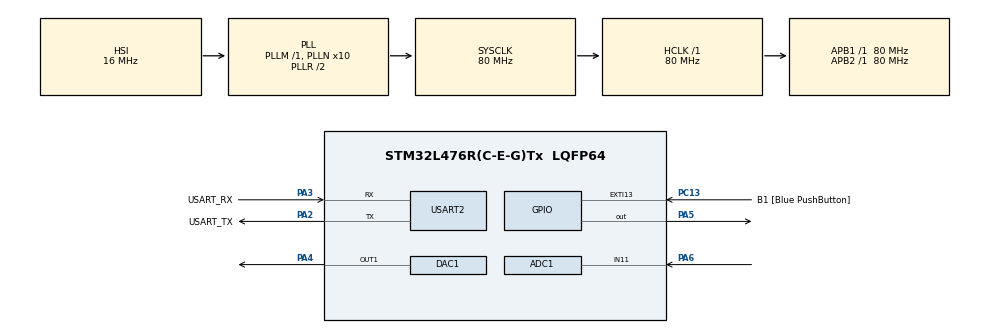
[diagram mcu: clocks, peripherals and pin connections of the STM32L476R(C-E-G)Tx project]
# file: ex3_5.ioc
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ADC1.Channel-1\#ChannelRegularConversion=ADC_CHANNEL_11
ADC1.NbrOfConversionFlag=1
ADC1.OffsetNumber-1\#ChannelRegularConversion=ADC_OFFSET_NONE
ADC1.Rank-1\#ChannelRegularConversion=1
ADC1.SamplingTime-1\#ChannelRegularConversion=ADC_SAMPLETIME_92CYCLES_5
ADC1.master=1
Mcu.Family=STM32L4
Mcu.Name=STM32L476R(C-E-G)Tx
Mcu.Package=LQFP64
NVIC.PriorityGroup=NVIC_PRIORITYGROUP_4
PA13\ (JTMS-SWDIO).GPIO_Label=TMS
PA13\ (JTMS-SWDIO).Mode=Serial_Wire
PA13\ (JTMS-SWDIO).Signal=SYS_JTMS-SWDIO
PA14\ (JTCK-SWCLK).GPIO_Label=TCK
PA14\ (JTCK-SWCLK).Mode=Serial_Wire
PA14\ (JTCK-SWCLK).Signal=SYS_JTCK-SWCLK
PA2.GPIO_Label=USART_TX
PA2.GPIO_Mode=GPIO_MODE_AF_PP
PA2.GPIO_PuPd=GPIO_NOPULL
PA2.GPIO_Speed=GPIO_SPEED_FREQ_VERY_HIGH
PA2.Mode=Asynchronous
PA2.Signal=USART2_TX
PA3.GPIO_Label=USART_RX
PA3.GPIO_Mode=GPIO_MODE_AF_PP
PA3.GPIO_PuPd=GPIO_NOPULL
PA3.GPIO_Speed=GPIO_SPEED_FREQ_VERY_HIGH
PA3.Mode=Asynchronous
PA3.Signal=USART2_RX
PA4.Signal=COMP_DAC11_group
PA5.Signal=GPIO_Output
PA6.Signal=ADCx_IN11
PB3\ (JTDO-TRACESWO).GPIO_Label=SWO
PB3\ (JTDO-TRACESWO).Signal=SYS_JTDO-SWO
PC13.GPIO_Label=B1 [Blue PushButton]
PC13.GPIO_ModeDefaultEXTI=GPIO_MODE_IT_FALLING
PC13.GPIO_PuPd=GPIO_NOPULL
PC13.Signal=GPXTI13
PC14-OSC32_IN\ (PC14).Mode=LSE-External-Oscillator
PC14-OSC32_IN\ (PC14).Signal=RCC_OSC32_IN
PC15-OSC32_OUT\ (PC15).Mode=LSE-External-Oscillator
PC15-OSC32_OUT\ (PC15).Signal=RCC_OSC32_OUT
PH0-OSC_IN\ (PH0).Signal=RCC_OSC_IN
PH1-OSC_OUT\ (PH1).Signal=RCC_OSC_OUT
ProjectManager.HeapSize=0x200
ProjectManager.StackSize=0x400
ProjectManager.TargetToolchain=STM32CubeIDE
RCC.ADCFreq_Value=64000000
RCC.AHBFreq_Value=80000000
RCC.APB1Freq_Value=80000000
RCC.APB1TimFreq_Value=80000000
RCC.APB2Freq_Value=80000000
RCC.APB2TimFreq_Value=80000000
RCC.CortexFreq_Value=80000000
RCC.HCLKFreq_Value=80000000
RCC.HSE_VALUE=8000000
RCC.HSI_VALUE=16000000
RCC.MSI_VALUE=4000000
RCC.PLLN=10
RCC.PLLSourceVirtual=RCC_PLLSOURCE_HSI
RCC.PREFETCH_ENABLE=1
RCC.SYSCLKFreq_VALUE=80000000
RCC.SYSCLKSource=RCC_SYSCLKSOURCE_PLLCLK
RCC.USBFreq_Value=64000000
RCC.VCOOutputFreq_Value=160000000
SH.ADCx_IN11.0=ADC1_IN11,IN11-Single-Ended
SH.COMP_DAC11_group.0=DAC1_OUT1,DAC_OUT1
USART2.VirtualMode-Asynchronous=VM_ASYNC
board=NUCLEO-L476RG

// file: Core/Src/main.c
/* USER CODE BEGIN Header */
/**
  ******************************************************************************
  * @file           : main.c
  * @brief          : Main program body
  ******************************************************************************
  * @attention
  *
  * <h2><center>&copy; Copyright (c) 2021 STMicroelectronics.
  * All rights reserved.</center></h2>
  *
  * This software component is licensed by ST under BSD 3-Clause license,
  * the "License"; You may not use this file except in compliance with the
  * License. You may obtain a copy of the License at:
  *                        opensource.org/licenses/BSD-3-Clause
  *
  ******************************************************************************
  */
/* USER CODE END Header */
#include "main.h"
#include "adc.h"
#include "dac.h"
#include "usart.h"
#include "gpio.h"

/* USER CODE BEGIN Includes */
#include <stdio.h>
/* USER CODE END Includes */

void SystemClock_Config(void);
/* USER CODE BEGIN PFP */
int _write(int file, char *ptr, int len) {
	HAL_UART_Transmit(&huart2, (uint8_t*)ptr, len, 50);
	return len;
}
/* USER CODE END PFP */

int main(void)
{
  /* USER CODE BEGIN 1 */
	uint8_t Value[8]={0,39, 77, 116, 155, 193, 232, 255};
	uint32_t HelpTime=0;
	uint16_t ADCValue=0;
	uint8_t i=0;
  /* USER CODE END 1 */

  /* MCU Configuration--------------------------------------------------------*/

  /* Reset of all peripherals, Initializes the Flash interface and the Systick. */
  HAL_Init();

  /* Configure the system clock */
  SystemClock_Config();

  /* Initialize all configured peripherals */
  MX_GPIO_Init();
  MX_USART2_UART_Init();
  MX_ADC1_Init();
  MX_DAC1_Init();
  /* USER CODE BEGIN 2 */
  HAL_ADC_Start(&hadc1);
  HAL_DAC_SetValue(&hdac1 , DAC_CHANNEL_1, DAC_ALIGN_8B_R, 0);
  HAL_DAC_Start(&hdac1, DAC_CHANNEL_1);
  /* USER CODE END 2 */

  /* Infinite loop */
  /* USER CODE BEGIN WHILE */
  while (1)
  {
	  if((HAL_GetTick()-HelpTime) >= 500 ){
		  HelpTime=HAL_GetTick();
		  printf(" Wartosc zadana %d \r\n", Value[i]);
		  HAL_DAC_SetValue(&hdac1 , DAC_CHANNEL_1, DAC_ALIGN_8B_R, Value[i]);

		  if(i%2==0 && HAL_ADC_PollForConversion(&hadc1, 10) == HAL_OK){
			  ADCValue=HAL_ADC_GetValue(&hadc1);
			  printf("Wartosc zmierzona %d \r\n", ADCValue*100/4095);
			  HAL_ADC_Start(&hadc1);
		  }

		  i++;

		  if(i==8){
			  i=0;
		  }

	  }
    /* USER CODE END WHILE */

  }
}

void SystemClock_Config(void)
{
  RCC_OscInitTypeDef RCC_OscInitStruct = {0};
  RCC_ClkInitTypeDef RCC_ClkInitStruct = {0};
  RCC_PeriphCLKInitTypeDef PeriphClkInit = {0};

  /** Initializes the RCC Oscillators according to the specified parameters
  * in the RCC_OscInitTypeDef structure.
  */
  RCC_OscInitStruct.OscillatorType = RCC_OSCILLATORTYPE_HSI;
  RCC_OscInitStruct.HSIState = RCC_HSI_ON;
  RCC_OscInitStruct.HSICalibrationValue = RCC_HSICALIBRATION_DEFAULT;
  RCC_OscInitStruct.PLL.PLLState = RCC_PLL_ON;
  RCC_OscInitStruct.PLL.PLLSource = RCC_PLLSOURCE_HSI;
  RCC_OscInitStruct.PLL.PLLM = 1;
  RCC_OscInitStruct.PLL.PLLN = 10;
  RCC_OscInitStruct.PLL.PLLP = RCC_PLLP_DIV7;
  RCC_OscInitStruct.PLL.PLLQ = RCC_PLLQ_DIV2;
  RCC_OscInitStruct.PLL.PLLR = RCC_PLLR_DIV2;
  if (HAL_RCC_OscConfig(&RCC_OscInitStruct) != HAL_OK)
  {
    Error_Handler();
  }
  /** Initializes the CPU, AHB and APB buses clocks
  */
  RCC_ClkInitStruct.ClockType = RCC_CLOCKTYPE_HCLK|RCC_CLOCKTYPE_SYSCLK
                              |RCC_CLOCKTYPE_PCLK1|RCC_CLOCKTYPE_PCLK2;
  RCC_ClkInitStruct.SYSCLKSource = RCC_SYSCLKSOURCE_PLLCLK;
  RCC_ClkInitStruct.AHBCLKDivider = RCC_SYSCLK_DIV1;
  RCC_ClkInitStruct.APB1CLKDivider = RCC_HCLK_DIV1;
  RCC_ClkInitStruct.APB2CLKDivider = RCC_HCLK_DIV1;

  if (HAL_RCC_ClockConfig(&RCC_ClkInitStruct, FLASH_LATENCY_4) != HAL_OK)
  {
    Error_Handler();
  }
  PeriphClkInit.PeriphClockSelection = RCC_PERIPHCLK_USART2|RCC_PERIPHCLK_ADC;
  PeriphClkInit.Usart2ClockSelection = RCC_USART2CLKSOURCE_PCLK1;
  PeriphClkInit.AdcClockSelection = RCC_ADCCLKSOURCE_PLLSAI1;
  PeriphClkInit.PLLSAI1.PLLSAI1Source = RCC_PLLSOURCE_HSI;
  PeriphClkInit.PLLSAI1.PLLSAI1M = 1;
  PeriphClkInit.PLLSAI1.PLLSAI1N = 8;
  PeriphClkInit.PLLSAI1.PLLSAI1P = RCC_PLLP_DIV7;
  PeriphClkInit.PLLSAI1.PLLSAI1Q = RCC_PLLQ_DIV2;
  PeriphClkInit.PLLSAI1.PLLSAI1R = RCC_PLLR_DIV2;
  PeriphClkInit.PLLSAI1.PLLSAI1ClockOut = RCC_PLLSAI1_ADC1CLK;
  if (HAL_RCCEx_PeriphCLKConfig(&PeriphClkInit) != HAL_OK)
  {
    Error_Handler();
  }
  /** Configure the main internal regulator output voltage
  */
  if (HAL_PWREx_ControlVoltageScaling(PWR_REGULATOR_VOLTAGE_SCALE1) != HAL_OK)
  {
    Error_Handler();
  }
}

void Error_Handler(void)
{
}

/************************ (C) COPYRIGHT STMicroelectronics *****END OF FILE****/
